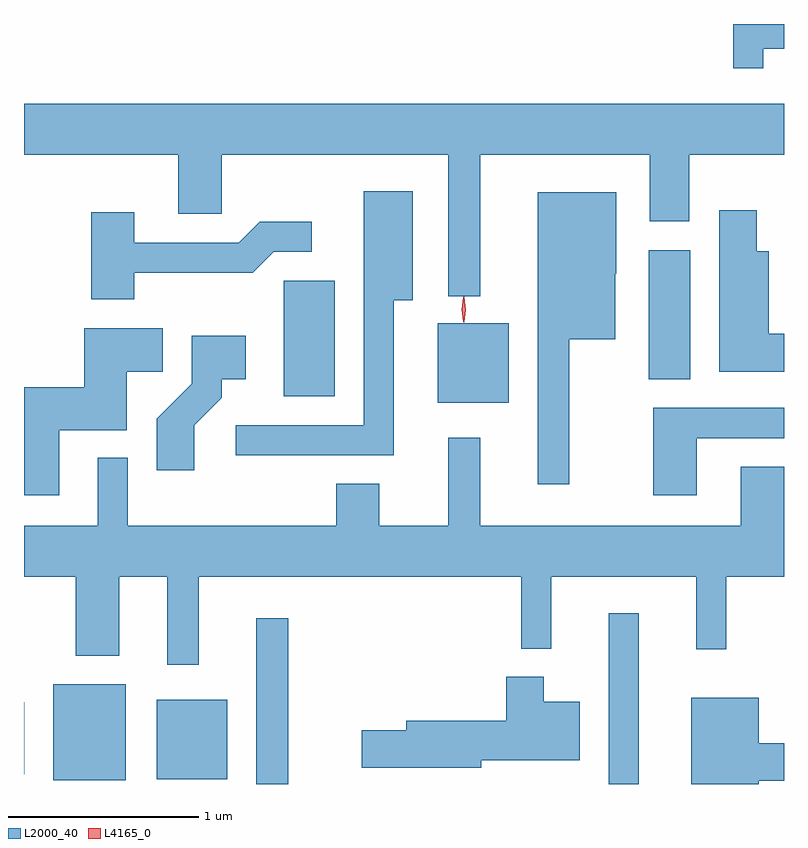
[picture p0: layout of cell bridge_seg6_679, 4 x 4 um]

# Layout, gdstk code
import gdstk
lib = gdstk.Library(unit=1e-6, precision=1e-09)
def R(c, l, rs):  # rectangles x0, y0, x1, y1
    for r in rs: c.add(gdstk.rectangle(r[:2], r[2:], *l))
def P(c, l, *ps):  # polygons
    for p in ps: c.add(gdstk.Polygon(p, *l))
L2000_40 = (2000, 40)
L4165_0 = (4165, 0)

bridge_seg6_679 = lib.new_cell('bridge_seg6_679')
R(bridge_seg6_679, L2000_40, [(244.311,1542.285,244.479,1543.158), (246.166,1542.285,246.324,1543.183), (243.241,1542.306,243.624,1542.809), (243.786,1542.311,244.159,1542.729), (243.088,1542.336,243.089,1542.714), (245.266,1544.291,245.639,1544.709), (244.456,1544.326,244.724,1544.934), (246.376,1544.416,246.594,1545.094)])
P(bridge_seg6_679, L2000_40, [(246.979,1546.156),(247.088,1546.156),(247.088,1546.285),(246.821,1546.285),(246.821,1546.053),(246.979,1546.053)],
  [(245.489,1545.596),(246.381,1545.596),(246.381,1545.246),(246.589,1545.246),(246.589,1545.596),(247.088,1545.596),(247.088,1545.864),(243.088,1545.864),(243.088,1545.596),(243.901,1545.596),(243.901,1545.286),(244.129,1545.286),(244.129,1545.596),(245.321,1545.596),(245.321,1544.853),(245.489,1544.853)],
  [(245.034,1544.831),(245.134,1544.831),(245.134,1545.404),(244.876,1545.404),(244.876,1544.174),(244.203,1544.174),(244.203,1544.016),(245.034,1544.016)],
  [(245.959,1544.626),(246.199,1544.626),(246.199,1544.97),(246.204,1544.97),(246.204,1545.399),(245.791,1545.399),(245.791,1543.863),(245.959,1543.863)],
  [(247.088,1544.654),(247.009,1544.654),(247.009,1545.089),(246.944,1545.089),(246.944,1545.304),(246.746,1545.304),(246.746,1544.456),(247.088,1544.456)],
  [(243.669,1544.976),(244.292,1544.976),(244.402,1545.086),(244.603,1545.086),(244.603,1545.244),(244.329,1545.244),(244.219,1545.134),(243.669,1545.134),(243.669,1545.294),(243.441,1545.294),(243.441,1544.836),(243.669,1544.836)],
  [(243.274,1544.146),(243.629,1544.146),(243.629,1544.456),(243.819,1544.456),(243.819,1544.684),(243.406,1544.684),(243.406,1544.374),(243.088,1544.374),(243.088,1543.806),(243.274,1543.806)],
  [(243.984,1544.174),(244.129,1544.319),(244.129,1544.416),(244.254,1544.416),(244.254,1544.644),(243.971,1544.644),(243.971,1544.392),(243.786,1544.207),(243.786,1543.936),(243.984,1543.936)],
  [(246.629,1544.106),(247.088,1544.106),(247.088,1544.264),(246.401,1544.264),(246.401,1543.806),(246.629,1543.806)],
  [(243.088,1543.376),(243.361,1543.376),(243.361,1542.961),(243.589,1542.961),(243.589,1543.376),(243.841,1543.376),(243.841,1542.913),(244.009,1542.913),(244.009,1543.376),(245.706,1543.376),(245.706,1542.998),(245.864,1542.998),(245.864,1543.376),(246.626,1543.376),(246.626,1542.993),(246.784,1542.993),(246.784,1543.376),(247.088,1543.376),(247.088,1543.954),(246.861,1543.954),(246.861,1543.644),(245.489,1543.644),(245.489,1544.108),(245.321,1544.108),(245.321,1543.644),(244.959,1543.644),(244.959,1543.864),(244.731,1543.864),(244.731,1543.644),(243.634,1543.644),(243.634,1544.003),(243.476,1544.003),(243.476,1543.644),(243.088,1543.644)],
  [(245.494,1542.411),(246.014,1542.411),(246.014,1542.719),(245.824,1542.719),(245.824,1542.849),(245.626,1542.849),(245.626,1542.619),(245.101,1542.619),(245.101,1542.569),(244.866,1542.569),(244.866,1542.371),(245.494,1542.371)],
  [(246.954,1542.301),(247.088,1542.301),(247.088,1542.499),(246.954,1542.499),(246.954,1542.739),(246.601,1542.739),(246.601,1542.285),(246.954,1542.285)])
P(bridge_seg6_679, L4165_0, [(245.403,1544.714),(245.403,1544.714),(245.394,1544.782),(245.403,1544.85),(245.403,1544.85),(245.404,1544.85),(245.413,1544.782),(245.404,1544.714)],
  [(245.401,1544.718),(245.4,1544.719),(245.391,1544.783),(245.401,1544.847),(245.402,1544.847),(245.402,1544.847),(245.412,1544.783),(245.401,1544.719)])

lib.write_gds('bridge_seg6_679.gds')
